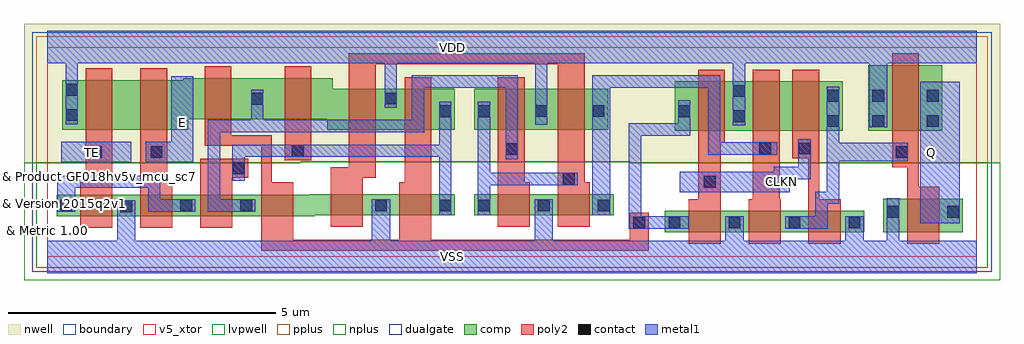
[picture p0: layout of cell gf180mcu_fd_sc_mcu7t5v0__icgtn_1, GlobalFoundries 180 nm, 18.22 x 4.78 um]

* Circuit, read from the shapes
.subckt gf180mcu_fd_sc_mcu7t5v0__icgtn_1 CLKN E Q TE VDD VSS
XM1 VSS TE n1 VSUBS nfet_05v0 w=0.395u l=0.6u
XM2 n1 E VSS VSUBS nfet_05v0 w=0.395u l=0.6u
XM3 n2 n3 n1 VSUBS nfet_05v0 w=0.395u l=0.6u
XM4 n4 n5 n2 VSUBS nfet_05v0 w=0.395u l=0.6u
XM5 VSS n6 n4 VSUBS nfet_05v0 w=0.395u l=0.6u
XM6 n3 n5 VSS VSUBS nfet_05v0 w=0.395u l=0.6u
XM7 VSS n2 n6 VSUBS nfet_05v0 w=0.395u l=0.6u
XM8 n7 n6 VSS VSUBS nfet_05v0 w=0.395u l=0.6u
XM9 VSS CLKN n5 VSUBS nfet_05v0 w=0.395u l=0.6u
XM10 n8 n7 VSS VSUBS nfet_05v0 w=0.395u l=0.6u
XM11 VSS CLKN n8 VSUBS nfet_05v0 w=0.395u l=0.6u
XM12 Q n8 VSS VSUBS nfet_05v0 w=0.625u l=0.6u
XM13 n9 TE VDD n10 pfet_05v0 w=0.925u l=0.5u
XM14 n11 E n9 n10 pfet_05v0 w=0.925u l=0.5u
XM15 n2 n5 n11 n10 pfet_05v0 w=0.765u l=0.5u
XM16 n12 n3 n2 n10 pfet_05v0 w=0.765u l=0.5u
XM17 VDD n6 n12 n10 pfet_05v0 w=0.765u l=0.5u
XM18 n3 n5 VDD n10 pfet_05v0 w=0.765u l=0.5u
XM19 VDD n2 n6 n10 pfet_05v0 w=0.765u l=0.5u
XM20 n7 n6 VDD n10 pfet_05v0 w=0.765u l=0.5u
XM21 VDD CLKN n5 n10 pfet_05v0 w=0.92u l=0.5u
XM22 n13 n7 VDD n10 pfet_05v0 w=0.92u l=0.5u
XM23 n8 CLKN n13 n10 pfet_05v0 w=0.92u l=0.5u
XM24 Q n8 VDD n10 pfet_05v0 w=1.22u l=0.5u
.ends

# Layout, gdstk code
import gdstk
lib = gdstk.Library(unit=1e-6, precision=1e-09)
def R(c, l, rs):  # rectangles x0, y0, x1, y1
    for r in rs: c.add(gdstk.rectangle(r[:2], r[2:], *l))
def A(c, l, x, y, w, h, nx, ny, dx, dy):  # array of equal rectangles
    R(c, l, [(x+i*dx, y+j*dy, x+i*dx+w, y+j*dy+h) for i in range(nx) for j in range(ny)])
def P(c, l, *ps):  # polygons
    for p in ps: c.add(gdstk.Polygon(p, *l))
boundary = (0, 0)
nwell = (21, 0)
comp = (22, 0)
poly2 = (30, 0)
pplus = (31, 0)
nplus = (32, 0)
contact = (33, 0)
metal1 = (34, 0)
dualgate = (55, 0)
v5_xtor = (112, 1)
lvpwell = (204, 0)

gf180mcu_fd_sc_mcu7t5v0_ = lib.new_cell('gf180mcu_fd_sc_mcu7t5v0__icgtn_1')
R(gf180mcu_fd_sc_mcu7t5v0_, boundary, [(0,0,17.36,3.92)])
P(gf180mcu_fd_sc_mcu7t5v0_, nwell, [(-0.43,1.76),(-0.43,4.35),(17.79,4.35),(17.79,1.76),(10.88,1.76),(10.88,1.775),(4.735,1.775),(4.735,1.76)])
R(gf180mcu_fd_sc_mcu7t5v0_, comp, [(11.535,0.465,15.255,0.86), (15.615,0.465,17.095,1.09), (7.975,0.78,10.575,1.175), (11.715,2.36,14.855,3.28), (15.335,2.36,16.715,3.58), (7.975,2.375,10.475,3.14)])
P(gf180mcu_fd_sc_mcu7t5v0_, comp, [(0.18,0.765),(0.18,1.16),(4.895,1.16),(4.895,1.175),(7.615,1.175),(7.615,0.78),(4.995,0.78),(4.995,0.765)],
  [(0.28,2.375),(0.28,3.3),(2.54,3.3),(2.54,3.34),(5.335,3.34),(5.335,3.14),(7.615,3.14),(7.615,2.375),(5.235,2.375),(5.235,2.575),(2.64,2.575),(2.64,2.375)])
R(gf180mcu_fd_sc_mcu7t5v0_, poly2, [(4.435,1.805,4.935,3.56)])
P(gf180mcu_fd_sc_mcu7t5v0_, poly2, [(0.62,0.545),(0.62,1.395),(0.72,1.395),(0.72,3.52),(1.22,3.52),(1.22,0.545)],
  [(1.74,0.545),(1.74,3.52),(2.24,3.52),(2.24,1.395),(2.34,1.395),(2.34,0.545)],
  [(2.86,0.545),(2.86,1.835),(3.755,1.835),(3.755,1.475),(3.46,1.475),(3.46,0.545)],
  [(8.415,0.56),(8.415,3.36),(8.915,3.36),(8.915,1.395),(9.015,1.395),(9.015,0.56)],
  [(5.295,0.56),(5.295,1.675),(5.635,1.675),(5.635,3.8),(10.035,3.8),(10.035,1.395),(10.135,1.395),(10.135,0.56),(9.535,0.56),(9.535,3.6),(6.135,3.6),(6.135,1.475),(5.895,1.475),(5.895,0.56)],
  [(3.995,0.12),(3.995,2.075),(2.94,2.075),(2.94,3.56),(3.44,3.56),(3.44,2.275),(4.195,2.275),(4.195,1.395),(4.595,1.395),(4.595,0.32),(6.575,0.32),(6.575,1.395),(6.675,1.395),(6.675,3.36),(7.175,3.36),(7.175,0.32),(10.875,0.32),(10.875,0.825),(11.235,0.825),(11.235,0.12)],
  [(11.975,0.245),(11.975,1.08),(12.155,1.08),(12.155,3.5),(12.655,3.5),(12.655,2.135),(12.575,2.135),(12.575,0.245)],
  [(13.095,0.245),(13.095,1.08),(13.175,1.08),(13.175,3.5),(13.675,3.5),(13.675,1.08),(13.695,1.08),(13.695,0.245)],
  [(14.215,0.245),(14.215,1.845),(13.915,1.845),(13.915,3.5),(14.415,3.5),(14.415,1.08),(14.815,1.08),(14.815,0.245)],
  [(16.055,0.245),(16.055,1.675),(15.775,1.675),(15.775,3.8),(16.275,3.8),(16.275,1.31),(16.655,1.31),(16.655,0.245)])
P(gf180mcu_fd_sc_mcu7t5v0_, pplus, [(-0.2,1.76),(-0.2,4.12),(17.56,4.12),(17.56,1.76),(10.88,1.76),(10.88,1.775),(4.735,1.775),(4.735,1.76)])
P(gf180mcu_fd_sc_mcu7t5v0_, nplus, [(-0.2,-0.2),(-0.2,1.76),(4.735,1.76),(4.735,1.775),(10.88,1.775),(10.88,1.76),(17.56,1.76),(17.56,-0.2)])
A(gf180mcu_fd_sc_mcu7t5v0_, contact, 11.605, 0.535, 0.22, 0.22, 4, 1, 1.12, 0)
A(gf180mcu_fd_sc_mcu7t5v0_, contact, 8.045, 0.85, 0.22, 0.22, 3, 1, 1.12, 0)
R(gf180mcu_fd_sc_mcu7t5v0_, contact, [(10.945,0.535,11.165,0.755), (15.685,0.735,15.905,0.955), (16.805,0.735,17.025,0.955), (1.37,0.835,1.59,1.055), (0.25,0.85,0.47,1.07), (2.49,0.85,2.71,1.07), (3.61,0.85,3.83,1.07), (6.125,0.85,6.345,1.07), (7.325,0.85,7.545,1.07), (12.26,1.295,12.48,1.515), (9.63,1.345,9.85,1.565), (3.465,1.545,3.685,1.765), (0.8,1.85,1.02,2.07), (1.935,1.85,2.155,2.07), (15.845,1.85,16.065,2.07), (4.57,1.875,4.79,2.095), (8.565,1.905,8.785,2.125), (13.3,1.915,13.52,2.135), (14.03,1.915,14.25,2.135), (14.565,2.43,14.785,2.65), (15.405,2.43,15.625,2.65), (16.425,2.43,16.645,2.65), (12.805,2.52,13.025,2.74), (0.35,2.54,0.57,2.76), (7.325,2.61,7.545,2.83), (8.045,2.61,8.265,2.83), (11.785,2.61,12.005,2.83), (9.115,2.615,9.335,2.835), (10.185,2.615,10.405,2.835), (3.815,2.845,4.035,3.065), (6.305,2.85,6.525,3.07), (14.565,2.9,14.785,3.12), (15.405,2.9,15.625,3.12), (16.425,2.9,16.645,3.12), (12.805,2.99,13.025,3.21), (0.35,3.01,0.57,3.23)])
R(gf180mcu_fd_sc_mcu7t5v0_, metal1, [(16.3,0.63,17.035,3.27), (0.27,1.77,1.57,2.15)])
P(gf180mcu_fd_sc_mcu7t5v0_, metal1, [(1.845,1.77),(1.845,2.15),(2.32,2.15),(2.32,3.37),(2.73,3.37),(2.73,1.77)],
  [(0.19,0.845),(0.19,1.52),(2.115,1.52),(2.115,1.075),(2.77,1.075),(2.77,0.845),(1.885,0.845),(1.885,1.29),(0.53,1.29),(0.53,0.845)],
  [(7.32,0.78),(7.32,1.87),(3.69,1.87),(3.69,1.42),(3.46,1.42),(3.46,2.1),(7.32,2.1),(7.32,2.9),(7.55,2.9),(7.55,0.78)],
  [(3,0.845),(3,2.56),(3.81,2.56),(3.81,3.125),(4.04,3.125),(4.04,2.56),(6.81,2.56),(6.81,3.39),(8.79,3.39),(8.79,1.82),(8.56,1.82),(8.56,3.16),(7.04,3.16),(7.04,2.33),(3.23,2.33),(3.23,1.075),(3.89,1.075),(3.89,0.845)],
  [(8.04,0.78),(8.04,2.9),(8.27,2.9),(8.27,1.575),(9.91,1.575),(9.91,1.34),(8.27,1.34),(8.27,0.78)],
  [(10.86,0.53),(10.86,2.495),(11.78,2.495),(11.78,2.93),(12.01,2.93),(12.01,2.26),(11.09,2.26),(11.09,0.76),(11.975,0.76),(11.975,0.53)],
  [(10.18,0.78),(10.18,3.39),(12.57,3.39),(12.57,2.14),(13.63,2.14),(13.63,1.91),(12.34,1.91),(12.34,3.16),(10.51,3.16),(10.51,0.78)],
  [(11.81,1.21),(11.81,1.59),(13.57,1.59),(13.57,1.68),(14.025,1.68),(14.025,2.195),(14.255,2.195),(14.255,1.45),(13.865,1.45),(13.865,1.21)],
  [(13.785,0.53),(13.785,0.76),(14.34,0.76),(14.34,1.22),(14.56,1.22),(14.56,3.18),(14.79,3.18),(14.79,2.13),(16.07,2.13),(16.07,1.79),(14.79,1.79),(14.79,0.99),(14.57,0.99),(14.57,0.53)],
  [(0,-0.3),(0,0.3),(1.31,0.3),(1.31,1.06),(1.65,1.06),(1.65,0.3),(6.065,0.3),(6.065,1.075),(6.405,1.075),(6.405,0.3),(9.105,0.3),(9.105,1.075),(9.445,1.075),(9.445,0.3),(12.665,0.3),(12.665,0.76),(13.005,0.76),(13.005,0.3),(14.905,0.3),(14.905,0.76),(15.245,0.76),(15.245,0.3),(15.68,0.3),(15.68,1.095),(15.91,1.095),(15.91,0.3),(17.36,0.3),(17.36,-0.3)],
  [(15.345,2.425),(15.345,3.62),(13.03,3.62),(13.03,2.46),(12.8,2.46),(12.8,3.62),(9.34,3.62),(9.34,2.47),(9.11,2.47),(9.11,3.62),(6.53,3.62),(6.53,2.79),(6.3,2.79),(6.3,3.62),(0.575,3.62),(0.575,2.48),(0.345,2.48),(0.345,3.62),(0,3.62),(0,4.22),(17.36,4.22),(17.36,3.62),(15.685,3.62),(15.685,2.425)])
R(gf180mcu_fd_sc_mcu7t5v0_, dualgate, [(-0.28,-0.28,17.64,4.2)])
R(gf180mcu_fd_sc_mcu7t5v0_, v5_xtor, [(0,0,17.36,3.92)])
P(gf180mcu_fd_sc_mcu7t5v0_, lvpwell, [(-0.43,-0.43),(-0.43,1.76),(4.735,1.76),(4.735,1.775),(10.88,1.775),(10.88,1.76),(17.79,1.76),(17.79,-0.43)])
gf180mcu_fd_sc_mcu7t5v0_.add(gdstk.Label('Q', (16.52,1.96), layer=34, texttype=10))
gf180mcu_fd_sc_mcu7t5v0_.add(gdstk.Label('TE', (0.84,1.96), layer=34, texttype=10))
gf180mcu_fd_sc_mcu7t5v0_.add(gdstk.Label('VDD', (7.56,3.92), layer=34, texttype=10))
gf180mcu_fd_sc_mcu7t5v0_.add(gdstk.Label('VSS', (7.56,0), layer=34, texttype=10))
gf180mcu_fd_sc_mcu7t5v0_.add(gdstk.Label('CLKN', (13.72,1.4), layer=34, texttype=10))
gf180mcu_fd_sc_mcu7t5v0_.add(gdstk.Label('E', (2.52,2.52), layer=34, texttype=10))
gf180mcu_fd_sc_mcu7t5v0_.add(gdstk.Label('& Vendor GLOBALFOUNDRIES', (0,2), layer=63, texttype=63))
gf180mcu_fd_sc_mcu7t5v0_.add(gdstk.Label('& Product GF018hv5v_mcu_sc7', (0,1.5), layer=63, texttype=63))
gf180mcu_fd_sc_mcu7t5v0_.add(gdstk.Label('& Version 2015q2v1', (0,1), layer=63, texttype=63))
gf180mcu_fd_sc_mcu7t5v0_.add(gdstk.Label('& Metric 1.00', (0,0.5), layer=63, texttype=63))

lib.write_gds('gf180mcu_fd_sc_mcu7t5v0__icgtn_1.gds')
